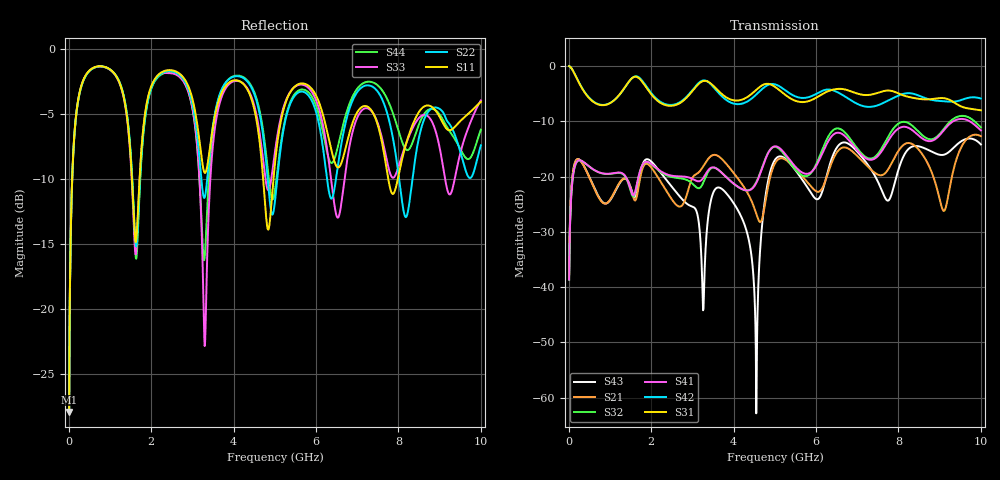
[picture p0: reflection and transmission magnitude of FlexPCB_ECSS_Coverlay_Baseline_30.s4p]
! TOUCHSTONE file generated by CST MICROWAVE STUDIO
! Date and time: Sun Jul  5 19:09:51 2026
! Project name: FlexPCB_ECSS_Coverlay_Baseline.cst
! Parameters = {Gap=1.2; GroundW=8.8; Hadh=0.025; Hcov=0.025; Hsub=0.1; L=50; Tcu=0.035; W=0.16}
! Header version: 2024
! Port assignment regex: !\s*Touchstone port\s*([0-9]+)\s*=\s*(CST MWS port|CST DES external port|CST DES block port)\s*(.+)\s* \(\"(.*)\"\)(\s*mode\s*([0-9]+))?.*
! Touchstone port assignment:
! Touchstone port 1 = CST MWS port 1 ("")
! Touchstone port 2 = CST MWS port 2 ("")
! Touchstone port 3 = CST MWS port 3 ("")
! Touchstone port 4 = CST MWS port 4 ("")
# GHz S MA R 50
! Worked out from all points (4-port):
!   1003 points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, 10 MHz to 10 GHz, reference 50 ohm
!   strongest paths, dB at 10 MHz, 2.5 GHz, 5.005 GHz, 7.503 GHz, 10 GHz:
!     S31: 0.0, -7.2, -3.8, -4.8, -8.0
!     S42: 0.0, -7.0, -3.3, -7.1, -5.9
!     S41: -38.7, -19.8, -14.5, -16.3, -11.6
!     S32: -38.7, -20.1, -14.6, -15.9, -11.1
!     S21: -37.8, -24.1, -17.6, -19.7, -12.7
!     S43: -37.8, -21.8, -17.0, -20.9, -14.2
!   lowest |S11| = -27.9 dB at 10 MHz (marker M1), VSWR 1.08, Z = 49.7 - j4.01 ohm
!   |S11| at or under -10 dB: 1.535 GHz to 1.719 GHz (184.3 MHz wide, 11.3 % of centre); 4.718 GHz to 4.969 GHz (251 MHz wide, 5.18 % of centre); 7.753 GHz to 7.985 GHz (232.9 MHz wide, 2.96 % of centre)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
0.01  0.04027 -91.3  0.01294 84.9  0.9977 -2.8  0.01167 85.0
      0.01294 84.9  0.03976 -91.3  0.01167 85.0  0.9978 -2.7
      0.9977 -2.8  0.01167 85.0  0.04026 -91.3  0.01294 84.8
      0.01167 85.0  0.9978 -2.7  0.01294 84.8  0.03976 -91.3
1.62  0.1817 171.9  0.06097 0.7  0.8015 177.1  0.07466 -150.5
      0.06097 0.7  0.1796 163.6  0.07359 -150.5  0.8079 179.4
      0.8015 177.1  0.07359 -150.5  0.1622 170.4  0.06635 -0.6
      0.07466 -150.5  0.8079 179.4  0.06635 -0.6  0.163 162.2
3.26  0.3502 160.0  0.1231 -7.9  0.7315 -1.1  0.0967 31.8
      0.1231 -7.9  0.2762 161.0  0.08732 37.5  0.7407 -1.7
      0.7315 -1.1  0.08732 37.5  0.1255 123.6  0.00616 165.9
      0.0967 31.8  0.7407 -1.7  0.00616 165.9  0.1664 156.7
3.75  0.6974 -175.4  0.1398 -56.6  0.5445 -70.7  0.1049 -36.2
      0.1398 -56.6  0.7176 -173.2  0.1051 -34.1  0.5187 -70.8
      0.5445 -70.7  0.1051 -34.1  0.6771 -161.6  0.07547 -32.4
      0.1049 -36.2  0.5187 -70.8  0.07547 -32.4  0.7163 -163.9
4.55  0.539 140.4  0.04612 -140.1  0.6087 -141.8  0.08745 -78.2
      0.04612 -140.1  0.636 143.3  0.08897 -76.9  0.5521 -135.2
      0.6087 -141.8  0.08897 -76.9  0.5624 150.1  0.0007199 -57.6
      0.08745 -78.2  0.5521 -135.2  0.0007199 -57.6  0.6488 152.2
5.04  0.4085 -153.2  0.1379 11.9  0.6351 144.2  0.1873 -150.6
      0.1379 11.9  0.2943 -167.8  0.1847 -151.3  0.6767 154.1
      0.6351 144.2  0.1847 -151.3  0.4409 -161.5  0.1471 8.6
      0.1873 -150.6  0.6767 154.1  0.1471 8.6  0.3158 -165.0
10  0.6251 -178.3  0.2319 -45.8  0.3975 -59.2  0.2616 5.3
    0.2319 -45.8  0.4259 -171.1  0.2789 -0.3  0.5089 -51.5
    0.3975 -59.2  0.2789 -0.3  0.6336 -158.2  0.1954 -22.2
    0.2616 5.3  0.5089 -51.5  0.1954 -22.2  0.4891 -167.8
